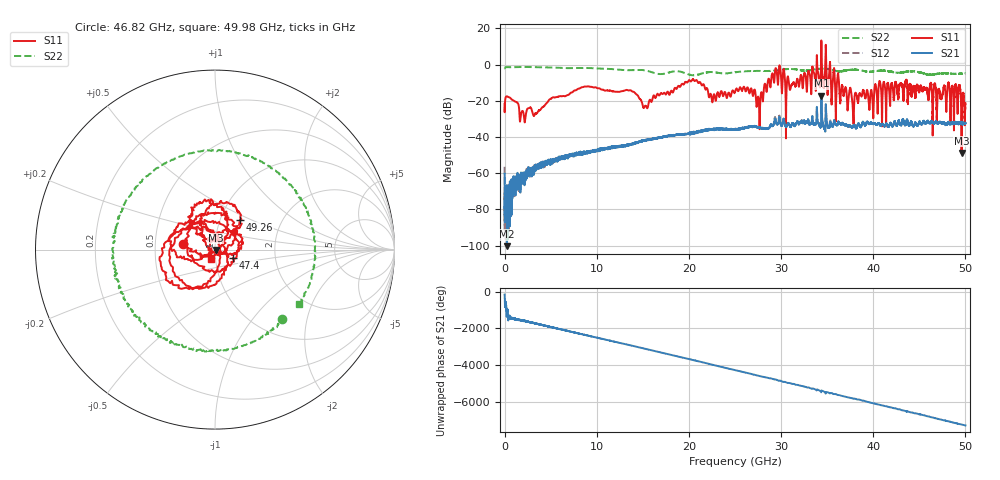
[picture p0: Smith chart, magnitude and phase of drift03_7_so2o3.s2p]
!Created with skrf (http://scikit-rf.org).
# Hz S RI R 50.0
!freq ReS11 ImS11 ReS21 ImS21 ReS12 ImS12 ReS22 ImS22
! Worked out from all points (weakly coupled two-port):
!   10001 points, 300 kHz to 50 GHz, reference 50 ohm
!   highest |S21| = -17.20 dB at 34.37 GHz (marker M1); lowest = -100.3 dB at 265.3 MHz (marker M2)
!   lowest |S11| = -48.9 dB at 49.59 GHz (marker M3), VSWR 1.01, Z = 50.3 - j0.146 ohm
!   |S11| at or under -10 dB: start of sweep to 19.56 GHz; 21.25 GHz to 28.55 GHz (7.294 GHz wide, 29.3 % of centre); 43.66 GHz to 48.17 GHz (4.51 GHz wide, 9.82 % of centre) (the widest 3 of 32)
!   |S22| runs from -6.0 to -1.3 dB; largest |S21 - S12| = 0.027
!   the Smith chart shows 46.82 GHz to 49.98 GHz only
!   S11 on the Smith chart (normalised r, x): 46.82 GHz: 0.70, +0.04; 47.4 GHz: 1.22, -0.11; 49.26 GHz: 1.24, +0.43; 49.98 GHz: 0.95, -0.10
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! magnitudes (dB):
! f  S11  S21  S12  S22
! 300 kHz  -21.7  -60.3  -56.5  -2.1
! 265.3 MHz  -17.6  -100.3  -66.6  -1.4
! 3.3 GHz  -27.3  -57.8  -56.9  -1.5
! 8.335 GHz  -12.6  -48.3  -48.9  -1.9
! 15.28 GHz  -22.8  -41.7  -41.8  -3.3
! 16.67 GHz  -16.6  -40.6  -40.6  -5.2
! 20.26 GHz  -9.2  -38.2  -37.9  -5.9
! 22.71 GHz  -16.5  -35.5  -35.6  -4.2
! 25 GHz  -15.2  -36.1  -35.8  -4.3
! 27.52 GHz  -17.8  -34.7  -34.5  -3.5
! 29.28 GHz  -8.7  -31.2  -30.8  -3.4
! 30.73 GHz  -6.6  -32.8  -32.7  -2.5
! 33.34 GHz  -7.4  -31.2  -31.4  -2.9
! 34.37 GHz  13.3  -17.2  -18.8  -2.3
! 37.86 GHz  -32.0  -33.8  -34.2  -2.8
! 41.67 GHz  -11.8  -34.3  -34.2  -3.7
! 46.82 GHz  -15.0  -31.3  -31.8  -5.3
! 47.4 GHz  -19.2  -32.3  -32.6  -4.9
! 49.26 GHz  -13.3  -33.1  -32.7  -5.1
! 49.59 GHz  -48.9  -32.9  -32.8  -5.1
! 49.98 GHz  -24.8  -32.8  -32.7  -5.1
! 50 GHz  -21.9  -32.3  -32.7  -5.0
